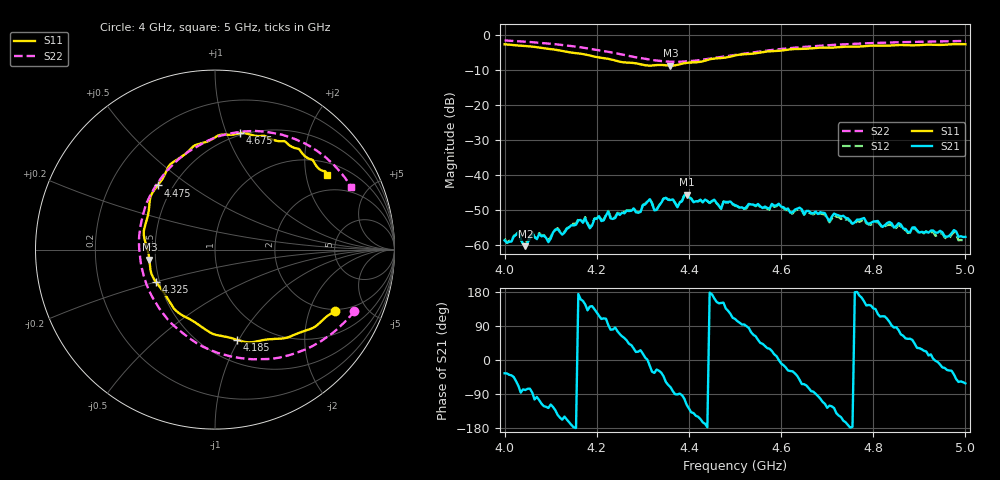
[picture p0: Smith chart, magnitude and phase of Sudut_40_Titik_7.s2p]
# Hz S RI R 50
! CMT, C1220, 16058040, 17.2.0/1
! Date: 15/08/2018 12:00:40
! Data: Format (Calibration Info)
! Freq  S11: Re/Im (F2)  S21: Re/Im (F2)  S12: Re/Im (F2)  S22: Re/Im (F2)
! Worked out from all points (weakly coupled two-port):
!   201 points, 4 GHz to 5 GHz, reference 50 ohm
!   highest |S21| = -45.53 dB at 4.395 GHz (marker M1); lowest = -60.2 dB at 4.045 GHz (marker M2)
!   lowest |S11| = -8.6 dB at 4.36 GHz (marker M3), VSWR 2.17, Z = 23.1 - j3.04 ohm
!   |S11| at or under -10 dB: nowhere
!   |S22| runs from -7.5 to -1.4 dB; largest |S21 - S12| = 0.00021
!   S11 on the Smith chart (normalised r, x): 4 GHz: 1.92, -2.99; 4.185 GHz: 0.72, -0.98; 4.325 GHz: 0.48, -0.20; 4.475 GHz: 0.41, +0.38; 4.675 GHz: 0.48, +1.12; 5 GHz: 1.41, +2.65
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4e9  0.6658 -0.3419  0.000962 -0.000675  0.00106 -0.000667  0.7763 -0.3425
4.03e9  0.6053 -0.388  0.000567 -0.00143  0.000618 -0.00142  0.7188 -0.407
4.045e9  0.5712 -0.4195  0.000181 -0.000956  0.000264 -0.00106  0.6854 -0.4396
4.06e9  0.5359 -0.4404  0.000103 -0.00147  0.000136 -0.00155  0.6498 -0.4692
4.095e9  0.4308 -0.4793  -0.000663 -0.000892  -0.000706 -0.00095  0.5527 -0.5324
4.11e9  0.3832 -0.4944  -0.00113 -0.00123  -0.00112 -0.00124  0.5033 -0.5563
4.17e9  0.1708 -0.5151  -0.00192 0.000864  -0.00199 0.000862  0.2768 -0.6098
4.185e9  0.1221 -0.5025  -0.00136 0.0011  -0.00143 0.00113  0.2137 -0.6111
4.225e9  -0.0254 -0.4628  -0.000112 0.00303  -0.000149 0.0031  0.0385 -0.5825
4.295e9  -0.2498 -0.2961  0.0027 0.00131  0.00275 0.00129  -0.2481 -0.4066
4.315e9  -0.301 -0.2173  0.0044 -0.0012  0.00445 -0.00126  -0.3101 -0.3281
4.325e9  -0.3281 -0.1817  0.00263 -0.00177  0.00264 -0.00183  -0.3368 -0.2858
4.335e9  -0.3479 -0.1493  0.00323 -0.00175  0.00321 -0.00182  -0.3617 -0.2398
4.36e9  -0.3656 -0.0567  0.00141 -0.00422  0.00142 -0.00428  -0.4044 -0.118
4.375e9  -0.38 0.0133  -4.96e-05 -0.00351  -0.000172 -0.00359  -0.4172 -0.046
4.395e9  -0.3968 0.0849  -0.00247 -0.00468  -0.00254 -0.00465  -0.4234 0.0534
4.475e9  -0.3189 0.3573  -0.0037 0.00203  -0.00364 0.00213  -0.3037 0.3934
4.5e9  -0.2682 0.4424  -0.00119 0.00357  -0.00113 0.00349  -0.2393 0.4693
4.67e9  0.1311 0.6465  0.000321 -0.00286  0.000262 -0.00276  0.2403 0.6599
4.675e9  0.1411 0.6489  5.21e-05 -0.00304  -2.85e-05 -0.00292  0.2528 0.6591
4.835e9  0.4367 0.5686  -0.000412 0.00212  -0.000397 0.00193  0.575 0.5453
5e9  0.6246 0.4135  0.000626 -0.00116  0.000581 -0.00108  0.7598 0.3467
